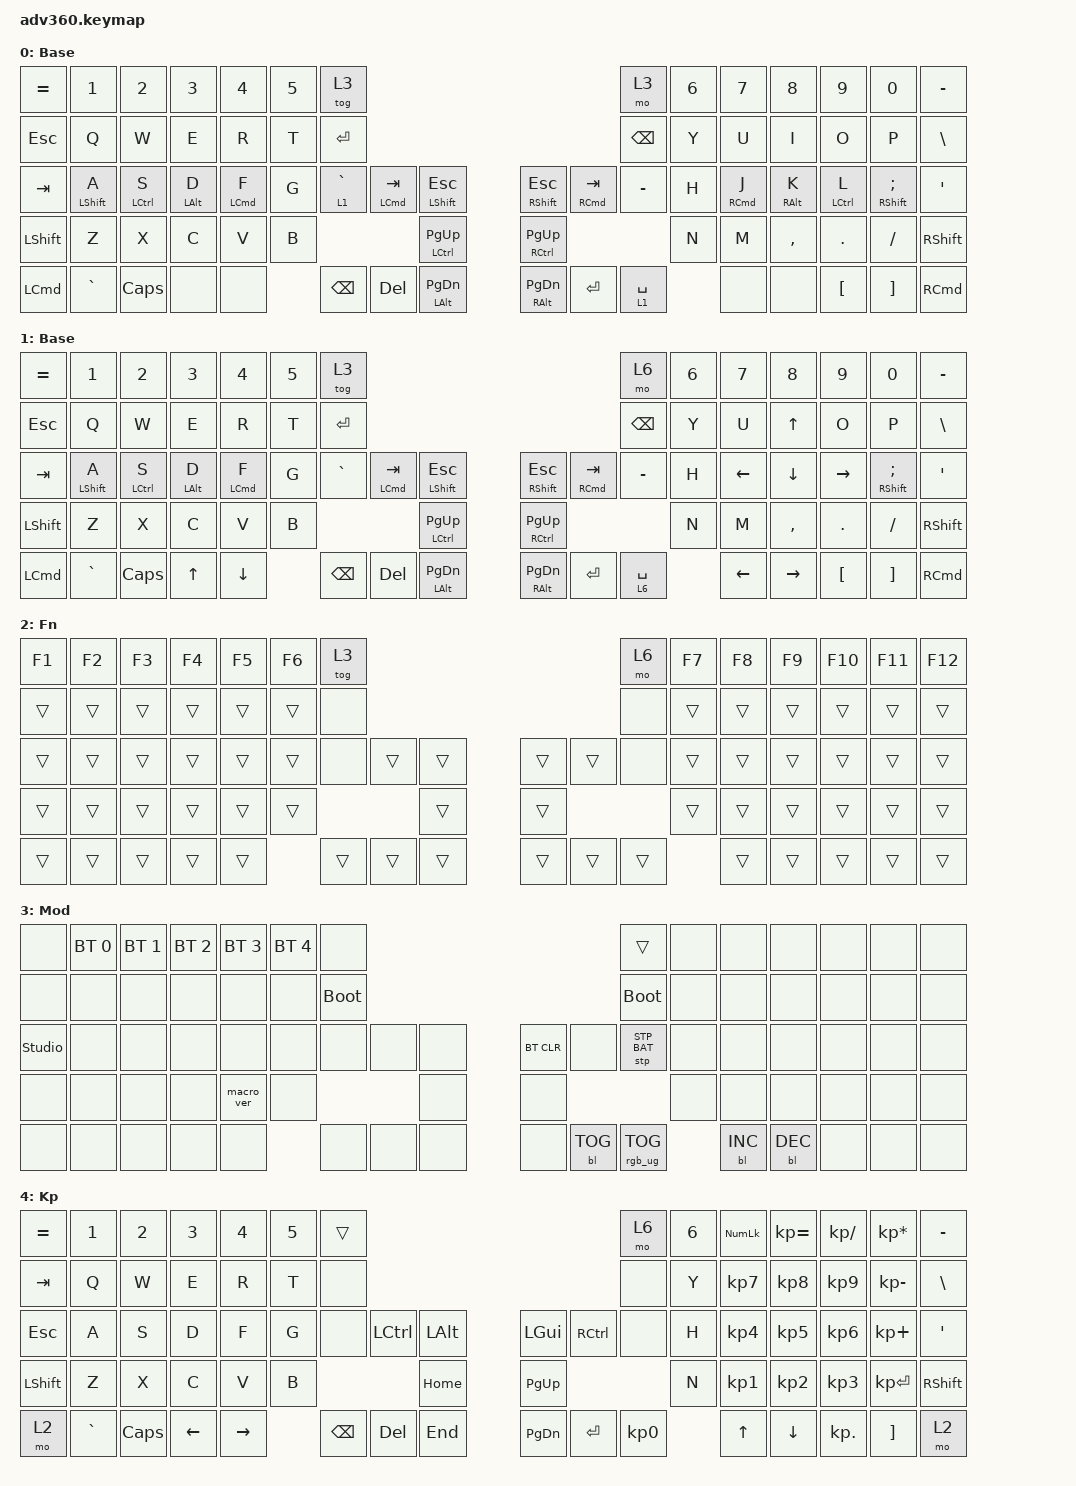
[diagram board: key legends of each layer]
#include <dt-bindings/zmk/stp.h>
#include <behaviors.dtsi>
#include <dt-bindings/zmk/backlight.h>
#include <dt-bindings/zmk/bt.h>
#include <dt-bindings/zmk/keys.h>
#include <dt-bindings/zmk/rgb.h>

/ {
    behaviors {
        #include "macros.dtsi"
      #include "version.dtsi"
      #ifndef VERSION_MACRO


        #endif

        hm: homerow_mods {
            compatible = "zmk,behavior-hold-tap";
            label = "HOMEROW_MODS";
            #binding-cells = <2>;
            tapping-term-ms = <300>;
            quick-tap-ms = <150>;
            flavor = "tap-preferred";
            bindings = <&kp>, <&kp>;

            require-prior-idle-ms = <150>;
        };

        thumb_cmd: thumb_cmd {
            compatible = "zmk,behavior-hold-tap";
            label = "THUMB_CMD";
            bindings = <&kp>, <&kp>;

            #binding-cells = <2>;
            tapping-term-ms = <200>;
            quick-tap-ms = <175>;
            require-prior-idle-ms = <125>;
            flavor = "balanced";
        };

        holdlayer: holdlayer {
            compatible = "zmk,behavior-hold-tap";
            label = "HOLDLAYER";
            bindings = <&mo>, <&kp>;

            #binding-cells = <2>;
            tapping-term-ms = <250>;
            quick-tap-ms = <225>;
            require-prior-idle-ms = <150>;
            flavor = "balanced";
        };
    };

    keymap {
        compatible = "zmk,keymap";

        default_layer {
            display-name = "Base";
            bindings = <
&kp EQUAL  &kp N1            &kp N2       &kp N3          &kp N4      &kp N5  &tog 3                                                                                                                       &mo 3               &kp N6  &kp N7      &kp N8           &kp N9       &kp N0                &kp MINUS
&kp ESC    &kp Q             &kp W        &kp E           &kp R       &kp T   &kp ENTER                                                                                                                    &kp BACKSPACE       &kp Y   &kp U       &kp I            &kp O        &kp P                 &kp BSLH
&kp TAB    &hm LEFT_SHIFT A  &hm LCTRL S  &hm LEFT_ALT D  &hm LCMD F  &kp G   &holdlayer 1 GRAVE  &thumb_cmd LCMD TAB  &thumb_cmd LEFT_SHIFT ESC      &thumb_cmd RIGHT_SHIFT ESC      &thumb_cmd RCMD TAB  &kp MINUS           &kp H   &hm RCMD J  &hm RIGHT_ALT K  &hm LCTRL L  &hm RIGHT_SHIFT SEMI  &kp SQT
&kp LSHFT  &kp Z             &kp X        &kp C           &kp V       &kp B                                            &thumb_cmd LCTRL PG_UP         &thumb_cmd RCTRL PG_UP                                                   &kp N   &kp M       &kp COMMA        &kp DOT      &kp FSLH              &kp RSHFT
&kp LCMD   &kp GRAVE         &kp CAPS     &none           &none               &kp BSPC            &kp DEL              &thumb_cmd LEFT_ALT PG_DN      &thumb_cmd RIGHT_ALT PAGE_DOWN  &kp ENTER            &holdlayer 1 SPACE          &none       &none            &kp LBKT     &kp RBKT              &kp RCMD
            >;
        };

        arrows {
            display-name = "Base";
            bindings = <
&kp EQUAL  &kp N1            &kp N2       &kp N3          &kp N4      &kp N5  &tog 3                                                                                                              &mo 6               &kp N6  &kp N7          &kp N8        &kp N9     &kp N0                &kp MINUS
&kp ESC    &kp Q             &kp W        &kp E           &kp R       &kp T   &kp ENTER                                                                                                           &kp BACKSPACE       &kp Y   &kp U           &kp UP_ARROW  &kp O      &kp P                 &kp BSLH
&kp TAB    &hm LEFT_SHIFT A  &hm LCTRL S  &hm LEFT_ALT D  &hm LCMD F  &kp G   &kp GRAVE  &thumb_cmd LCMD TAB  &thumb_cmd LEFT_SHIFT ESC      &thumb_cmd RIGHT_SHIFT ESC      &thumb_cmd RCMD TAB  &kp MINUS           &kp H   &kp LEFT_ARROW  &kp DOWN      &kp RIGHT  &hm RIGHT_SHIFT SEMI  &kp SQT
&kp LSHFT  &kp Z             &kp X        &kp C           &kp V       &kp B                                   &thumb_cmd LCTRL PG_UP         &thumb_cmd RCTRL PG_UP                                                   &kp N   &kp M           &kp COMMA     &kp DOT    &kp FSLH              &kp RSHFT
&kp LCMD   &kp GRAVE         &kp CAPS     &kp UP          &kp DOWN            &kp BSPC   &kp DEL              &thumb_cmd LEFT_ALT PG_DN      &thumb_cmd RIGHT_ALT PAGE_DOWN  &kp ENTER            &holdlayer 6 SPACE          &kp LEFT        &kp RIGHT     &kp LBKT   &kp RBKT              &kp RCMD
            >;
        };

        fn {
            display-name = "Fn";
            bindings = <
&kp F1  &kp F2  &kp F3  &kp F4  &kp F5  &kp F6  &tog 3                                      &mo 6   &kp F7  &kp F8  &kp F9  &kp F10  &kp F11  &kp F12
&trans  &trans  &trans  &trans  &trans  &trans  &none                                       &none   &trans  &trans  &trans  &trans   &trans   &trans
&trans  &trans  &trans  &trans  &trans  &trans  &none   &trans  &trans      &trans  &trans  &none   &trans  &trans  &trans  &trans   &trans   &trans
&trans  &trans  &trans  &trans  &trans  &trans                  &trans      &trans                  &trans  &trans  &trans  &trans   &trans   &trans
&trans  &trans  &trans  &trans  &trans          &trans  &trans  &trans      &trans  &trans  &trans          &trans  &trans  &trans   &trans   &trans
            >;
        };

        mod {
            display-name = "Mod";
            bindings = <
&none           &bt BT_SEL 0  &bt BT_SEL 1  &bt BT_SEL 2  &bt BT_SEL 3  &bt BT_SEL 4  &none                                                  &trans           &none  &none       &none       &none  &none  &none
&none           &none         &none         &none         &none         &none         &bootloader                                            &bootloader      &none  &none       &none       &none  &none  &none
&studio_unlock  &none         &none         &none         &none         &none         &none        &none  &none      &bt BT_CLR  &none       &stp STP_BAT     &none  &none       &none       &none  &none  &none
&none           &none         &none         &none         &macro_ver    &none                             &none      &none                                    &none  &none       &none       &none  &none  &none
&none           &none         &none         &none         &none                       &none        &none  &none      &none       &bl BL_TOG  &rgb_ug RGB_TOG         &bl BL_INC  &bl BL_DEC  &none  &none  &none
            >;
        };

        keypad {
            display-name = "Kp";
            bindings = <
&kp EQUAL  &kp N1     &kp N2    &kp N3    &kp N4     &kp N5  &trans                                                   &mo 6      &kp N6  &kp KP_NUM  &kp KP_EQUAL  &kp KP_DIVIDE  &kp KP_MULTIPLY  &kp MINUS
&kp TAB    &kp Q      &kp W     &kp E     &kp R      &kp T   &none                                                    &none      &kp Y   &kp KP_N7   &kp KP_N8     &kp KP_N9      &kp KP_MINUS     &kp BSLH
&kp ESC    &kp A      &kp S     &kp D     &kp F      &kp G   &none     &kp LCTRL  &kp LALT      &kp LGUI   &kp RCTRL  &none      &kp H   &kp KP_N4   &kp KP_N5     &kp KP_N6      &kp KP_PLUS      &kp SQT
&kp LSHFT  &kp Z      &kp X     &kp C     &kp V      &kp B                        &kp HOME      &kp PG_UP                        &kp N   &kp KP_N1   &kp KP_N2     &kp KP_N3      &kp KP_ENTER     &kp RSHFT
&mo 2      &kp GRAVE  &kp CAPS  &kp LEFT  &kp RIGHT          &kp BSPC  &kp DEL    &kp END       &kp PG_DN  &kp ENTER  &kp KP_N0          &kp UP      &kp DOWN      &kp KP_DOT     &kp RBKT         &mo 2
            >;
        };

        extra1 {
            display-name = "Red";
            status = "reserved";
        };

        extra2 {
            display-name = "Purple";
            status = "reserved";
        };

        extra3 {
            display-name = "Cyan";
            status = "reserved";
        };

        extra4 {
            display-name = "Yellow";
            status = "reserved";
        };
    };
};
